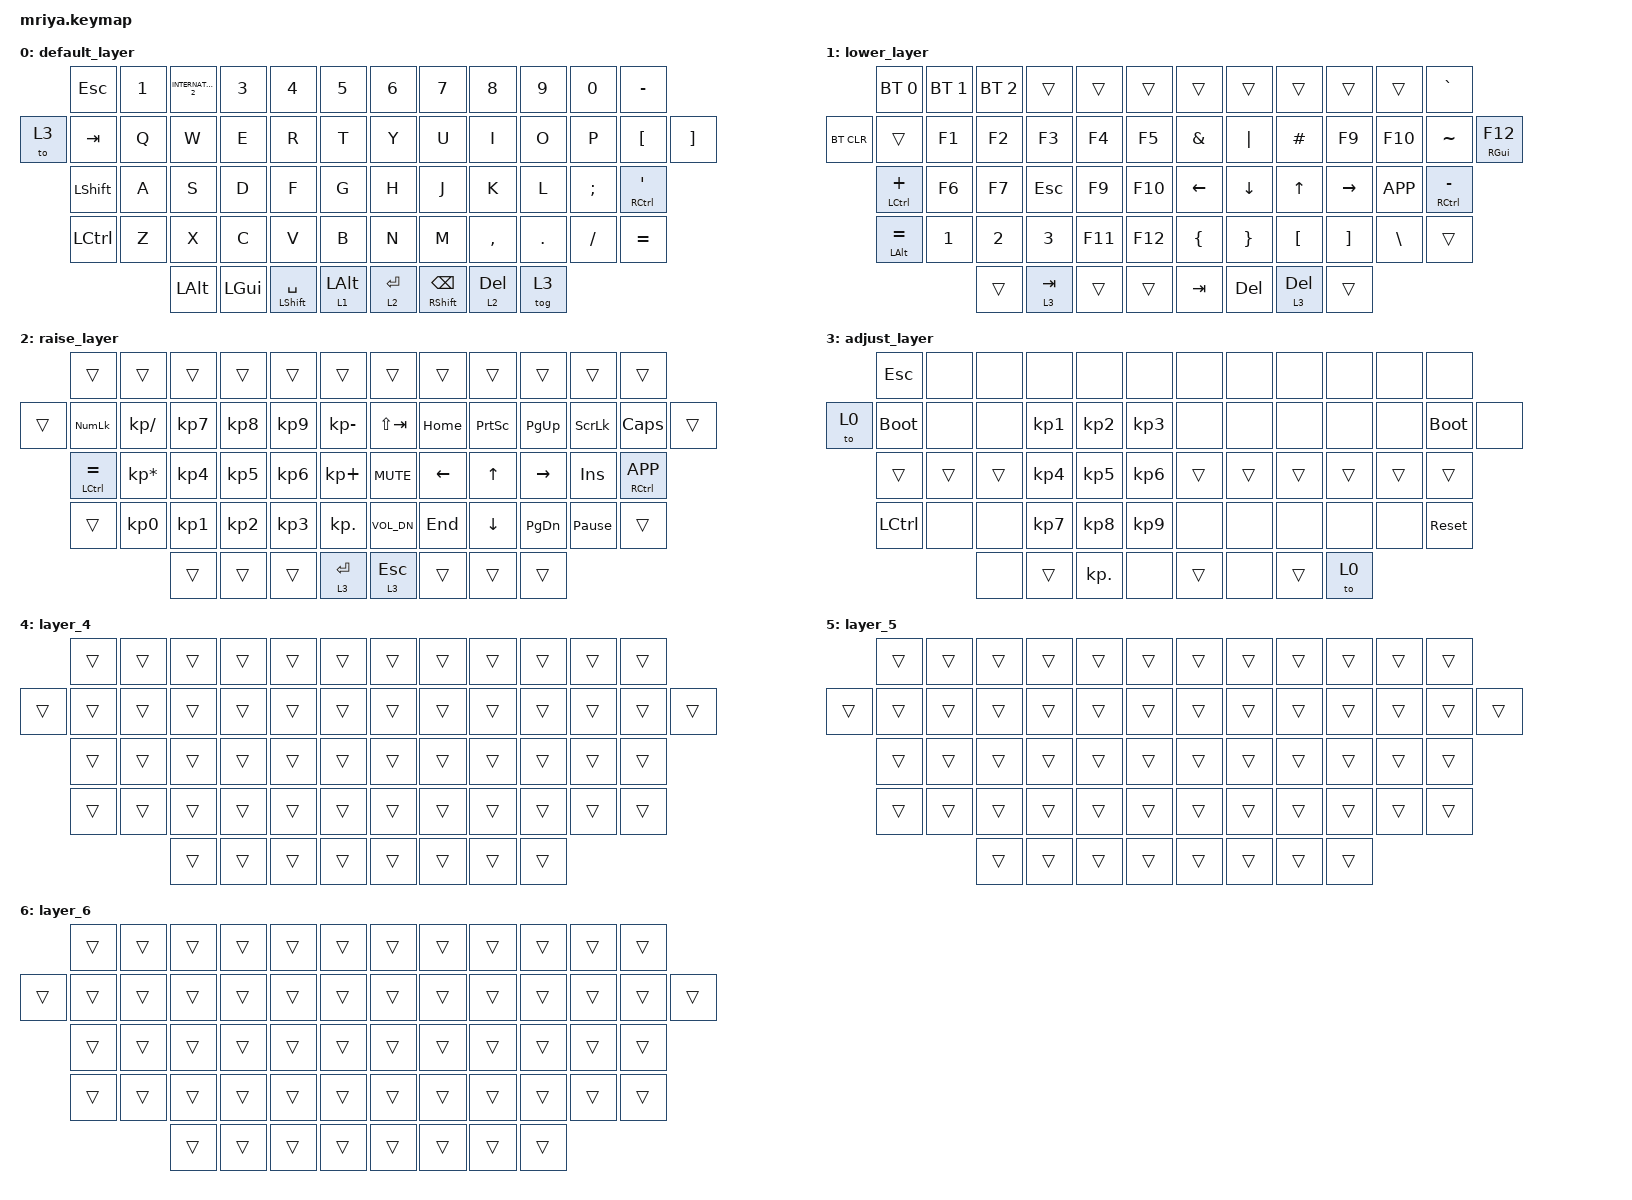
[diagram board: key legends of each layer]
/*
 * Copyright (c) 2023 Andrei Gaevskii
 *
 * SPDX-License-Identifier: MIT
 */

#include <behaviors.dtsi>
#include <dt-bindings/zmk/bt.h>
#include <dt-bindings/zmk/keys.h>

#define DEF 0
#define LWR 1
#define RSE 2
#define ADJ 3

&lt { quick_tap_ms = <200>; };

&mt { quick_tap_ms = <200>; };

/ {
    keymap {
        compatible = "zmk,keymap";

        default_layer {
            bindings = <
       &kp ESC         &kp N1  &kp INTERNATIONAL_2  &kp N3        &kp N4           &kp N5        &kp N6       &kp N7          &kp N8     &kp N9   &kp N0    &kp MINUS
&to 3  &kp TAB         &kp Q   &kp W                &kp E         &kp R            &kp T         &kp Y        &kp U           &kp I      &kp O    &kp P     &kp LEFT_BRACKET  &kp RIGHT_BRACKET
       &kp LEFT_SHIFT  &kp A   &kp S                &kp D         &kp F            &kp G         &kp H        &kp J           &kp K      &kp L    &kp SEMI  &mt RCTRL SQT
       &kp LCTRL       &kp Z   &kp X                &kp C         &kp V            &kp B         &kp N        &kp M           &kp COMMA  &kp DOT  &kp FSLH  &kp EQUAL
                               &kp LEFT_ALT         &kp LEFT_GUI  &mt LSHFT SPACE  &lt 1 LALT    &lt 2 ENTER  &mt RSHFT BSPC  &lt 2 DEL  &tog 3
            >;
        };

        lower_layer {
            bindings = <
            &bt BT_SEL 0    &bt BT_SEL 1  &bt BT_SEL 2  &trans     &trans   &trans     &trans          &trans           &trans            &trans             &trans         &kp GRAVE
&bt BT_CLR  &trans          &kp F1        &kp F2        &kp F3     &kp F4   &kp F5     &kp AMPERSAND   &kp PIPE         &kp HASH          &kp F9             &kp F10        &kp TILDE        &mt RGUI F12
            &mt LCTRL PLUS  &kp F6        &kp F7        &kp ESC    &kp F9   &kp F10    &kp LEFT        &kp DOWN         &kp UP_ARROW      &kp RIGHT_ARROW    &kp K_APP      &mt RCTRL MINUS
            &mt LALT EQUAL  &kp N1        &kp N2        &kp N3     &kp F11  &kp F12    &kp LEFT_BRACE  &kp RIGHT_BRACE  &kp LEFT_BRACKET  &kp RIGHT_BRACKET  &kp BACKSLASH  &trans
                                          &trans        &lt 3 TAB  &trans   &trans     &kp TAB         &kp DELETE       &lt 3 DEL         &trans
            >;
        };

        raise_layer {
            bindings = <
        &trans           &trans           &trans     &trans     &trans     &trans          &trans        &trans    &trans     &trans     &trans           &trans
&trans  &kp KP_NUM       &kp KP_SLASH     &kp KP_N7  &kp KP_N8  &kp KP_N9  &kp KP_MINUS    &kp LS(TAB)   &kp HOME  &kp PSCRN  &kp PG_UP  &kp SLCK         &kp CAPS         &trans
        &mt LCTRL EQUAL  &kp KP_MULTIPLY  &kp KP_N4  &kp KP_N5  &kp KP_N6  &kp KP_PLUS     &kp C_MUTE    &kp LEFT  &kp UP     &kp RIGHT  &kp INS          &mt RCTRL K_APP
        &trans           &kp KP_N0        &kp KP_N1  &kp KP_N2  &kp KP_N3  &kp KP_DOT      &kp C_VOL_DN  &kp END   &kp DOWN   &kp PG_DN  &kp PAUSE_BREAK  &trans
                                          &trans     &trans     &trans     &lt 3 RET       &lt 3 ESC     &trans    &trans     &trans
            >;
        };

        adjust_layer {
            bindings = <
       &kp ESC      &none   &none   &none            &none            &none              &none   &none   &none   &none   &none   &none
&to 0  &bootloader  &none   &none   &kp KP_N1        &kp KP_NUMBER_2  &kp KP_N3          &none   &none   &none   &none   &none   &bootloader  &none
       &trans       &trans  &trans  &kp KP_NUMBER_4  &kp KP_NUMBER_5  &kp KP_NUMBER_6    &trans  &trans  &trans  &trans  &trans  &trans
       &kp LCTRL    &none   &none   &kp KP_NUMBER_7  &kp KP_NUMBER_8  &kp KP_NUMBER_9    &none   &none   &none   &none   &none   &sys_reset
                            &none   &trans           &kp KP_DOT       &none              &trans  &none   &trans  &to 0
            >;
        };

        layer_4 {
            bindings = <
        &trans  &trans  &trans  &trans  &trans  &trans    &trans  &trans  &trans  &trans  &trans  &trans
&trans  &trans  &trans  &trans  &trans  &trans  &trans    &trans  &trans  &trans  &trans  &trans  &trans  &trans
        &trans  &trans  &trans  &trans  &trans  &trans    &trans  &trans  &trans  &trans  &trans  &trans
        &trans  &trans  &trans  &trans  &trans  &trans    &trans  &trans  &trans  &trans  &trans  &trans
                        &trans  &trans  &trans  &trans    &trans  &trans  &trans  &trans
            >;
        };

        layer_5 {
            bindings = <
        &trans  &trans  &trans  &trans  &trans  &trans    &trans  &trans  &trans  &trans  &trans  &trans
&trans  &trans  &trans  &trans  &trans  &trans  &trans    &trans  &trans  &trans  &trans  &trans  &trans  &trans
        &trans  &trans  &trans  &trans  &trans  &trans    &trans  &trans  &trans  &trans  &trans  &trans
        &trans  &trans  &trans  &trans  &trans  &trans    &trans  &trans  &trans  &trans  &trans  &trans
                        &trans  &trans  &trans  &trans    &trans  &trans  &trans  &trans
            >;
        };

        layer_6 {
            bindings = <
        &trans  &trans  &trans  &trans  &trans  &trans    &trans  &trans  &trans  &trans  &trans  &trans
&trans  &trans  &trans  &trans  &trans  &trans  &trans    &trans  &trans  &trans  &trans  &trans  &trans  &trans
        &trans  &trans  &trans  &trans  &trans  &trans    &trans  &trans  &trans  &trans  &trans  &trans
        &trans  &trans  &trans  &trans  &trans  &trans    &trans  &trans  &trans  &trans  &trans  &trans
                        &trans  &trans  &trans  &trans    &trans  &trans  &trans  &trans
            >;
        };
    };
};
